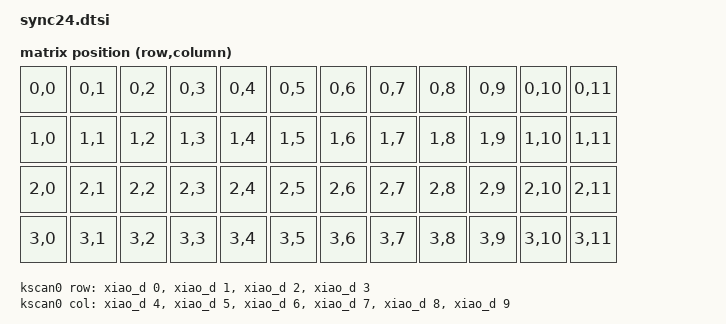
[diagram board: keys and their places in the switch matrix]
/*
 * Copyright (c) 2025 The ZMK Contributors
 *
 * SPDX-License-Identifier: MIT
 */

#include <dt-bindings/zmk/matrix_transform.h>
#include <physical_layouts.dtsi>
#include "./sync24_physical_layouts.dtsi"

/{
    chosen {
        zmk,physical-layout = &physical_layout0;
        zmk,kscan = &kscan0;
        transform = <&default_transform>;
    };
    

    default_transform: matrix_transform {
        compatible = "zmk,matrix-transform";
        col-offset = <0>;
        columns = <12>;
        rows = <4>;
//          | SW01  | SW02  | SW03  | SW04  | SW05  | SW06 |   | SW07  | SW08  | SW09  | SW10  | SW11  | SW12 |
//          | SW13  | SW14  | SW15  | SW16  | SW17  | SW18 |   | SW19  | SW20  | SW21  | SW22  | SW23  | SW24 |
//          | SW25  | SW26  | SW27  | SW28  | SW29  | SW30 |   | SW31  | SW32  | SW33  | SW34  | SW35  | SW36 |
//          | SW37  | SW38  | SW39  | SW40  | SW41  | SW42 |   | SW43  | SW44  | SW45  | SW46  | SW47  | SW48 |
        map = <
            RC(0,0) RC(0,1) RC(0,2) RC(0,3) RC(0,4) RC(0,5)    RC(0,6) RC(0,7) RC(0,8) RC(0,9) RC(0,10) RC(0,11)
            RC(1,0) RC(1,1) RC(1,2) RC(1,3) RC(1,4) RC(1,5)    RC(1,6) RC(1,7) RC(1,8) RC(1,9) RC(1,10) RC(1,11)
            RC(2,0) RC(2,1) RC(2,2) RC(2,3) RC(2,4) RC(2,5)    RC(2,6) RC(2,7) RC(2,8) RC(2,9) RC(2,10) RC(2,11)
            RC(3,0) RC(3,1) RC(3,2) RC(3,3) RC(3,4) RC(3,5)    RC(3,6) RC(3,7) RC(3,8) RC(3,9) RC(3,10) RC(3,11)
        >;
    };

    kscan0: kscan_0 {
        compatible = "zmk,kscan-gpio-matrix";
        label = "KSCAN";
        diode-direction = "col2row";

        row-gpios
            = <&xiao_d 0 (GPIO_ACTIVE_HIGH | GPIO_PULL_DOWN)>
            , <&xiao_d 1 (GPIO_ACTIVE_HIGH | GPIO_PULL_DOWN)>
            , <&xiao_d 2 (GPIO_ACTIVE_HIGH | GPIO_PULL_DOWN)>
            , <&xiao_d 3 (GPIO_ACTIVE_HIGH | GPIO_PULL_DOWN)>
            ;
            
        col-gpios
            = <&xiao_d 4 GPIO_ACTIVE_HIGH>
            , <&xiao_d 5 GPIO_ACTIVE_HIGH>
            , <&xiao_d 6 GPIO_ACTIVE_HIGH>
            , <&xiao_d 7 GPIO_ACTIVE_HIGH>
            , <&xiao_d 8 GPIO_ACTIVE_HIGH>
            , <&xiao_d 9 GPIO_ACTIVE_HIGH>
            ;
    };

};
